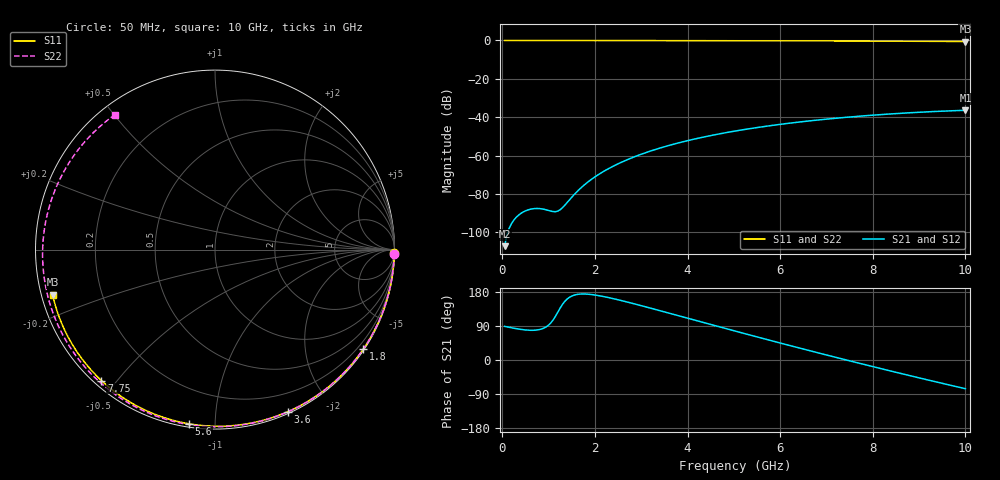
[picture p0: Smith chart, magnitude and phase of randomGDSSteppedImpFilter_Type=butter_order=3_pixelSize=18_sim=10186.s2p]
! freq	dB(S11)	phase(S11)	dB(S12)	phase(S12)
!  dB(S21)	phase(S21)	dB(S22)	phase(S22)
!S-par simulation data
#  GHz  S  DB  R 50
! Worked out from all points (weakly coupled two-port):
!   200 points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, 50 MHz to 10 GHz, reference 50 ohm
!   highest |S21| = -36.38 dB at 10 GHz (marker M1); lowest = -107.2 dB at 50 MHz (marker M2)
!   lowest |S11| = -0.5 dB at 10 GHz (marker M3), VSWR 31.77, Z = 1.6 - j6.78 ohm
!   |S11| at or under -10 dB: nowhere
!   |S22| runs from -0.6 to 0.0 dB; largest |S21 - S12| = 0
!   S11 on the Smith chart (normalised r, x): 50 MHz: open; 1.8 GHz: 0.03, -3.29; 3.6 GHz: 0.02, -1.55; 5.6 GHz: 0.02, -0.86; 7.75 GHz: 0.02, -0.46; 10 GHz: 0.03, -0.14
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0.05  -0.00 -0.9  -107.15 88.7  -107.15 88.7  -0.01 -1.4
0.4  -0.01 -7.6  -90.10 80.8  -90.10 80.8  -0.02 -11.6
0.75  -0.02 -14.3  -87.52 79.2  -87.52 79.2  -0.03 -21.6
1.15  -0.03 -21.8  -89.17 115.7  -89.17 115.7  -0.04 -33.0
1.55  -0.04 -29.2  -80.31 171.1  -80.31 171.1  -0.06 -44.0
1.75  -0.04 -32.9  -75.67 174.2  -75.67 174.2  -0.06 -49.5
1.8  -0.04 -33.9  -74.66 174.1  -74.66 174.1  -0.06 -50.8
2.1  -0.05 -39.3  -69.49 169.5  -69.49 169.5  -0.07 -58.8
2.45  -0.06 -45.7  -64.83 160.4  -64.83 160.4  -0.08 -68.0
2.9  -0.07 -53.6  -60.16 146.6  -60.16 146.6  -0.10 -79.3
3.4  -0.08 -62.4  -56.08 130.3  -56.08 130.3  -0.12 -91.5
3.6  -0.09 -65.8  -54.68 123.7  -54.68 123.7  -0.12 -96.2
4.3  -0.11 -77.5  -50.55 100.4  -50.55 100.4  -0.15 -112.2
5.05  -0.14 -89.7  -47.09 75.6  -47.09 75.6  -0.18 -128.6
5.6  -0.16 -98.4  -45.02 57.7  -45.02 57.7  -0.21 -140.2
6.15  -0.19 -106.9  -43.24 40.0  -43.24 40.0  -0.25 -151.6
6.7  -0.22 -115.3  -41.72 22.6  -41.72 22.6  -0.29 -162.8
7.25  -0.26 -123.5  -40.41 5.5  -40.41 5.5  -0.33 -174.0
7.75  -0.30 -130.9  -39.38 -9.9  -39.38 -9.9  -0.37 175.7
8.35  -0.36 -139.8  -38.33 -28.0  -38.33 -28.0  -0.42 163.1
9.15  -0.44 -151.7  -37.22 -51.5  -37.22 -51.5  -0.50 145.9
10  -0.55 -164.5  -36.38 -75.7  -36.38 -75.7  -0.57 126.5
